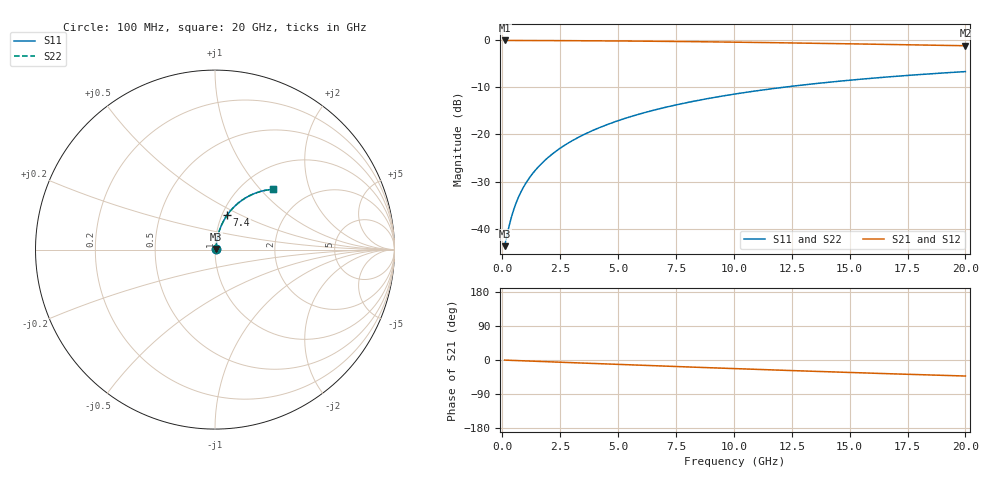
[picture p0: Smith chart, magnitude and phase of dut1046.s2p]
! Touchstone file exported from HFSS 2026.1.0
!  File:  C:/ffzhzh/LocalFiles/Ansys_Project_Files/temp_train_TMRDL_1046_1783160312_22436.aedt
!  Generated:  06:19:46 PM Jul  4, 2026
!  Design:  TMRDL
!  Project:  temp_train_TMRDL_1046_1783160312_22436
! Variables:
!  h_bsmrdl = 2um
!  h_ox = 20um
!  h_rdl = 5um
!  h_sub = 80um
!  h_tmrdl = 2.16um
!  h_tsv = 80um
!  h_via = 3um
!  l_bsmrdl = 300um
!  l_sub = 949.64um
!  l_tmrdl = 549.64um
!  m_sub = 200um
!  pitch = 49.9um
!  r_tsv = 6um
!  s_tmrdl = 10um
!  w_bsmrdl = 18um
!  w_sub = 500um
!  w_tmrdl = 16.13um
!  x_tsv_center1 = 557.705um
!  x_tsv_center2 = 875.705um
!  x_tsv_center3 = 1441.475um
!  x_tsv_center4 = 1759.475um
!  x_tsv_center5 = 2325.245um
!  x_tsv_center6 = 2643.245um
# GHz S MA R 50.000000
! Terminal data exported
! Port[1] = TM_RDL1_1_T1
! Port[2] = TM_RDL1_1_T2
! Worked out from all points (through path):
!   200 points, 100 MHz to 20 GHz, reference 50 ohm
!   highest |S21| = -0.05 dB at 100 MHz (marker M1); lowest = -1.2 dB at 20 GHz (marker M2)
!   group delay of S21, straight-line fit = 5.9 ps
!   lowest |S11| = -43.7 dB at 100 MHz (marker M3), VSWR 1.01, Z = 50.6 + j0.304 ohm
!   |S11| at or under -10 dB: start of sweep to 12.13 GHz
!   |S22| runs from -43.7 to -6.7 dB; largest |S21 - S12| = 4.1e-15
!   S11 on the Smith chart (normalised r, x): 100 MHz: 1.01, +0.01; 7.4 GHz: 1.06, +0.42; 20 GHz: 1.37, +1.17
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0.1  0.00652 27.4  0.9942 -0.2  0.9942 -0.2  0.00652 27.4
! Gamma 0 0 0 0
! Port Impedance 50 0 50 0
0.3  0.0108 55.9  0.994 -0.7  0.994 -0.7  0.0108 55.9
0.4  0.01342 62.2  0.9939 -1.0  0.9939 -1.0  0.01342 62.2
0.5  0.01612 66.3  0.9937 -1.2  0.9937 -1.2  0.01612 66.3
0.6  0.01886 69.0  0.9935 -1.4  0.9935 -1.4  0.01886 69.0
0.7  0.02162 71.0  0.9934 -1.7  0.9934 -1.7  0.02162 71.0
0.9  0.02713 73.7  0.993 -2.1  0.993 -2.1  0.02713 73.7
1.2  0.03542 76.0  0.9925 -2.8  0.9925 -2.8  0.03542 76.0
1.4  0.04094 76.9  0.9922 -3.3  0.9922 -3.3  0.04094 76.9
1.7  0.04925 77.7  0.9917 -4.0  0.9917 -4.0  0.04925 77.7
2.2  0.0631 78.2  0.9908 -5.2  0.9908 -5.2  0.0631 78.2
2.8  0.07972 78.1  0.9894 -6.5  0.9894 -6.5  0.07972 78.1
3.5  0.09905 77.5  0.9875 -8.2  0.9875 -8.2  0.09904 77.5
4.2  0.1182 76.5  0.9853 -9.8  0.9853 -9.8  0.1182 76.5
5  0.1399 75.2  0.9823 -11.6  0.9823 -11.6  0.1399 75.2
6.8  0.1877 71.8  0.9739 -15.7  0.9739 -15.7  0.1877 71.8
7.4  0.2031 70.6  0.9707 -17.0  0.9707 -17.0  0.2031 70.6
8.7  0.2359 68.0  0.9629 -19.9  0.9629 -19.9  0.2359 68.0
10.1  0.2698 65.1  0.9536 -22.9  0.9536 -22.9  0.2698 65.1
13.4  0.3437 58.5  0.9288 -29.7  0.9288 -29.7  0.3437 58.6
16.7  0.4086 52.2  0.9017 -36.2  0.9017 -36.2  0.4086 52.2
20  0.4645 46.3  0.8739 -42.3  0.8739 -42.3  0.4645 46.3
